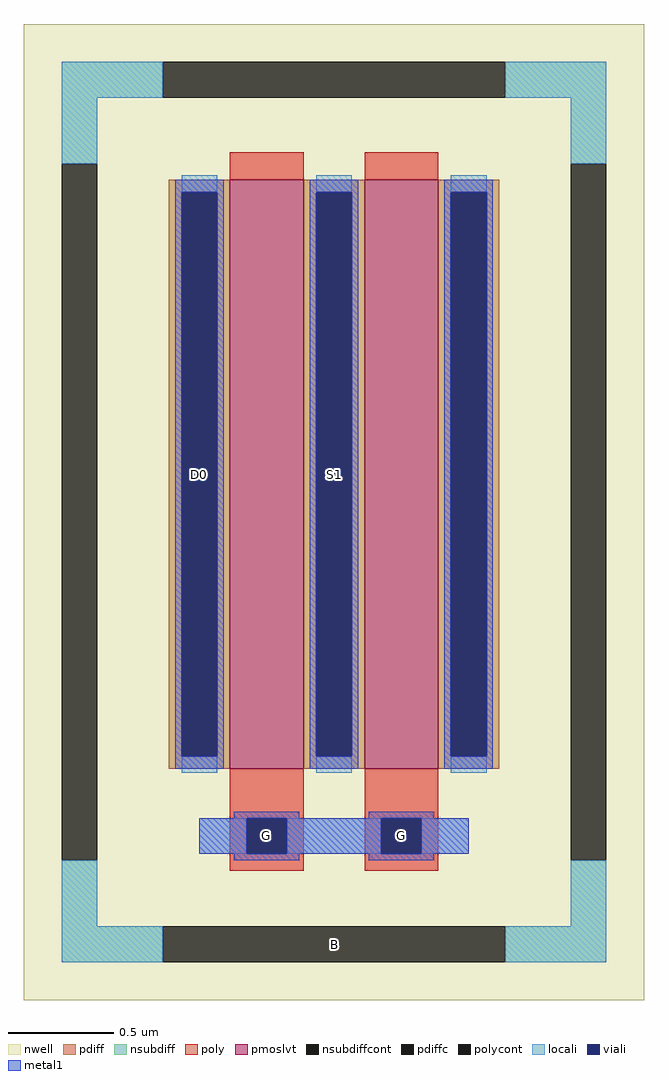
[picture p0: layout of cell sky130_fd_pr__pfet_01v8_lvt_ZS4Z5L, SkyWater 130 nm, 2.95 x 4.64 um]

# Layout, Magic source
magic
tech sky130A
magscale 1 2
<< nwell >>
rect -295 -464 295 464
<< pmoslvt >>
rect -99 -244 -29 316
rect 29 -244 99 316
<< pdiff >>
rect -157 304 -99 316
rect -157 -232 -145 304
rect -111 -232 -99 304
rect -157 -244 -99 -232
rect -29 304 29 316
rect -29 -232 -17 304
rect 17 -232 29 304
rect -29 -244 29 -232
rect 99 304 157 316
rect 99 -232 111 304
rect 145 -232 157 304
rect 99 -244 157 -232
<< pdiffc >>
rect -145 -232 -111 304
rect -17 -232 17 304
rect 111 -232 145 304
<< nsubdiff >>
rect -259 394 -163 428
rect 163 394 259 428
rect -259 331 -225 394
rect 225 331 259 394
rect -259 -394 -225 -331
rect 225 -394 259 -331
rect -259 -428 -163 -394
rect 163 -428 259 -394
<< nsubdiffcont >>
rect -163 394 163 428
rect -259 -331 -225 331
rect 225 -331 259 331
rect -163 -428 163 -394
<< poly >>
rect -99 316 -29 342
rect 29 316 99 342
rect -99 -291 -29 -244
rect -99 -325 -83 -291
rect -45 -325 -29 -291
rect -99 -341 -29 -325
rect 29 -291 99 -244
rect 29 -325 45 -291
rect 83 -325 99 -291
rect 29 -341 99 -325
<< polycont >>
rect -83 -325 -45 -291
rect 45 -325 83 -291
<< locali >>
rect -259 394 -163 428
rect 163 394 259 428
rect -259 331 -225 394
rect 225 331 259 394
rect -145 304 -111 320
rect -145 -248 -111 -232
rect -17 304 17 320
rect -17 -248 17 -232
rect 111 304 145 320
rect 111 -248 145 -232
rect -128 -325 -83 -291
rect -45 -325 45 -291
rect 83 -325 128 -291
rect -259 -394 -225 -331
rect 225 -394 259 -331
rect -259 -428 -163 -394
rect 163 -428 259 -394
<< viali >>
rect -145 -232 -111 304
rect -17 -232 17 304
rect 111 -232 145 304
rect -83 -325 -45 -291
rect 45 -325 83 -291
<< metal1 >>
rect -151 304 -105 316
rect -151 -232 -145 304
rect -111 -232 -105 304
rect -151 -244 -105 -232
rect -23 304 23 316
rect -23 -232 -17 304
rect 17 -232 23 304
rect -23 -244 23 -232
rect 105 304 151 316
rect 105 -232 111 304
rect 145 -232 151 304
rect 105 -244 151 -232
rect -95 -291 -33 -285
rect 33 -291 95 -285
rect -128 -325 -83 -291
rect -45 -325 45 -291
rect 83 -325 128 -291
rect -95 -331 -33 -325
rect 33 -331 95 -325
<< labels >>
rlabel nsubdiffcont 0 -411 0 -411 0 B
port 1 nsew
rlabel pdiffc -128 36 -128 36 0 D0
port 2 nsew
rlabel polycont -64 -308 -64 -308 0 G
port 3 nsew
rlabel pdiffc 0 36 0 36 0 S1
port 4 nsew
rlabel polycont 64 -308 64 -308 0 G
port 3 nsew
<< properties >>
string FIXED_BBOX -242 -411 242 411
string gencell sky130_fd_pr__pfet_01v8_lvt
string library sky130
string parameters w 2.8 l 0.35 m 1 nf 2 diffcov 100 polycov 100 guard 1 glc 1 grc 1 gtc 1 gbc 1 tbcov 100 rlcov 100 topc 0 botc 1 poverlap 0 doverlap 1 lmin 0.35 wmin 0.42 class mosfet compatible {sky130_fd_pr__pfet_01v8  sky130_fd_pr__pfet_01v8_lvt sky130_fd_pr__pfet_01v8_hvt  sky130_fd_pr__pfet_g5v0d10v5} full_metal 1 conn_gates 1 viasrc 100 viadrn 100 viagate 100 viagb 0 viagr 0 viagl 0 viagt 0 doports 1
<< end >>
